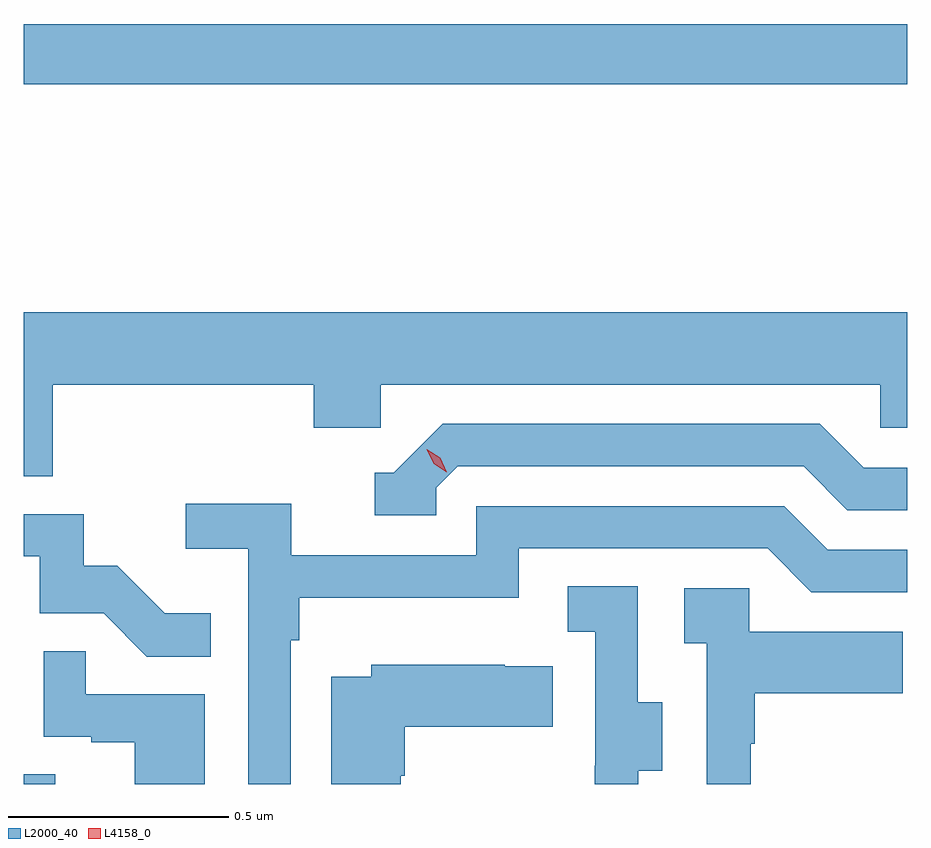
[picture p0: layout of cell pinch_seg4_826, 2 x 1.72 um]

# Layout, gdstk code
import gdstk
lib = gdstk.Library(unit=1e-6, precision=1e-09)
def R(c, l, rs):  # rectangles x0, y0, x1, y1
    for r in rs: c.add(gdstk.rectangle(r[:2], r[2:], *l))
def P(c, l, *ps):  # polygons
    for p in ps: c.add(gdstk.Polygon(p, *l))
L2000_40 = (2000, 40)
L4158_0 = (4158, 0)

pinch_seg4_826 = lib.new_cell('pinch_seg4_826')
R(pinch_seg4_826, L2000_40, [(817.772,793.252,817.843,793.274), (817.772,794.836,819.772,794.972)])
P(pinch_seg4_826, L2000_40, [(817.838,794.156),(818.429,794.156),(818.429,794.058),(818.58,794.058),(818.58,794.156),(819.711,794.156),(819.711,794.058),(819.772,794.058),(819.772,794.32),(817.772,794.32),(817.772,793.948),(817.838,793.948)],
  [(818.706,793.923),(818.754,793.971),(819.537,793.971),(819.636,793.872),(819.772,793.872),(819.772,793.968),(819.673,793.968),(819.574,794.067),(818.721,794.067),(818.61,793.956),(818.567,793.956),(818.567,793.86),(818.706,793.86)],
  [(818.376,793.577),(818.396,793.577),(818.396,793.673),(818.892,793.673),(818.892,793.785),(819.456,793.785),(819.555,793.686),(819.772,793.686),(819.772,793.782),(819.592,793.782),(819.493,793.881),(818.796,793.881),(818.796,793.77),(818.378,793.77),(818.378,793.886),(818.139,793.886),(818.139,793.784),(818.28,793.784),(818.28,793.252),(818.376,793.252)],
  [(818.195,793.639),(818.091,793.639),(817.984,793.746),(817.908,793.746),(817.908,793.863),(817.772,793.863),(817.772,793.767),(817.809,793.767),(817.809,793.638),(817.953,793.638),(818.051,793.54),(818.195,793.54)],
  [(819.163,793.282),(819.217,793.282),(819.217,793.437),(819.162,793.437),(819.162,793.7),(819.003,793.7),(819.003,793.597),(819.066,793.597),(819.066,793.293),(819.065,793.293),(819.065,793.252),(819.163,793.252)],
  [(819.417,793.343),(819.427,793.343),(819.427,793.457),(819.761,793.457),(819.761,793.597),(819.414,793.597),(819.414,793.695),(819.267,793.695),(819.267,793.571),(819.318,793.571),(819.318,793.252),(819.417,793.252)],
  [(818.182,793.455),(817.913,793.455),(817.913,793.553),(817.818,793.553),(817.818,793.359),(817.925,793.359),(817.925,793.347),(818.024,793.347),(818.024,793.252),(818.182,793.252)],
  [(818.626,793.271),(818.634,793.271),(818.634,793.382),(818.969,793.382),(818.969,793.519),(818.861,793.519),(818.861,793.522),(818.559,793.522),(818.559,793.495),(818.468,793.495),(818.468,793.252),(818.626,793.252)])
P(pinch_seg4_826, L4158_0, [(818.73,793.957),(818.7,793.977),(818.684,794.009),(818.684,794.01),(818.684,794.01),(818.715,793.99),(818.73,793.958),(818.73,793.957)])

lib.write_gds('pinch_seg4_826.gds')
